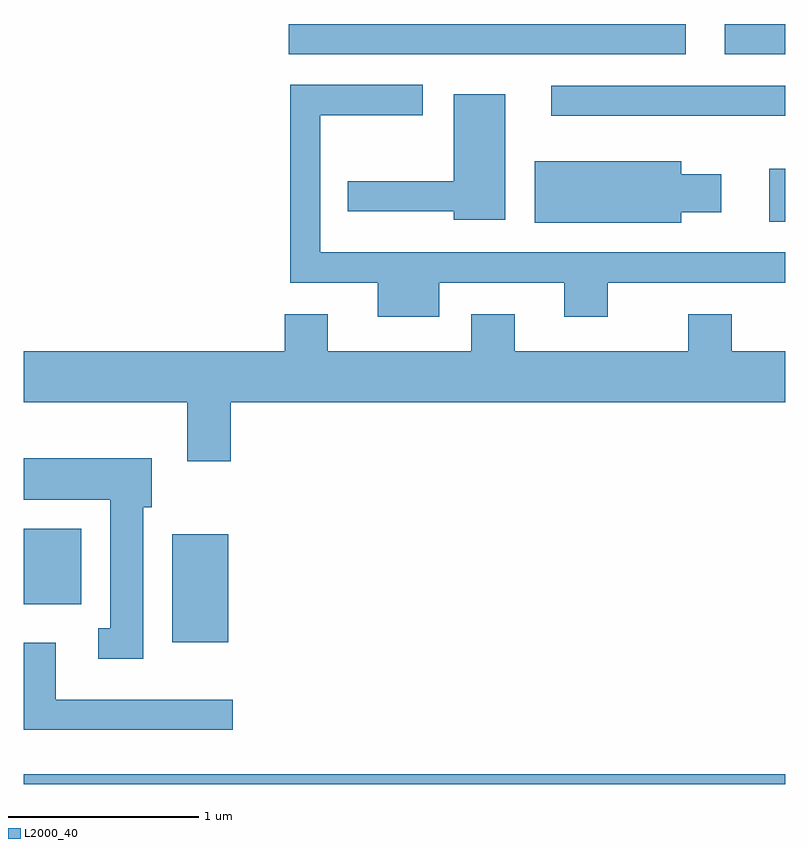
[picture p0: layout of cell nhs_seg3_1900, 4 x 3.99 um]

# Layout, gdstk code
import gdstk
lib = gdstk.Library(unit=1e-6, precision=1e-09)
def R(c, l, rs):  # rectangles x0, y0, x1, y1
    for r in rs: c.add(gdstk.rectangle(r[:2], r[2:], *l))
def P(c, l, *ps):  # polygons
    for p in ps: c.add(gdstk.Polygon(p, *l))
L2000_40 = (2000, 40)

nhs_seg3_1900 = lib.new_cell('nhs_seg3_1900')
R(nhs_seg3_1900, L2000_40, [(239.611,1243.892,243.611,1243.944), (240.391,1244.636,240.684,1245.204), (239.611,1244.836,239.914,1245.234), (243.526,1246.846,243.611,1247.124), (242.383,1247.401,243.611,1247.559), (241.003,1247.726,243.088,1247.884), (243.293,1247.726,243.611,1247.884)])
P(nhs_seg3_1900, L2000_40, [(241.794,1246.526),(242.451,1246.526),(242.451,1246.346),(242.679,1246.346),(242.679,1246.526),(243.611,1246.526),(243.611,1246.684),(241.169,1246.684),(241.169,1247.406),(241.708,1247.406),(241.708,1247.564),(241.011,1247.564),(241.011,1246.526),(241.471,1246.526),(241.471,1246.346),(241.794,1246.346)],
  [(242.139,1247.514),(241.871,1247.514),(241.871,1247.059),(241.313,1247.059),(241.313,1246.901),(241.871,1246.901),(241.871,1246.856),(242.139,1246.856)],
  [(243.064,1246.896),(243.274,1246.896),(243.274,1247.094),(243.064,1247.094),(243.064,1247.164),(242.296,1247.164),(242.296,1246.841),(243.064,1246.841)],
  [(240.699,1245.896),(243.611,1245.896),(243.611,1246.164),(243.329,1246.164),(243.329,1246.359),(243.101,1246.359),(243.101,1246.164),(242.189,1246.164),(242.189,1246.359),(241.961,1246.359),(241.961,1246.164),(241.209,1246.164),(241.209,1246.359),(240.981,1246.359),(240.981,1246.164),(239.611,1246.164),(239.611,1245.896),(240.471,1245.896),(240.471,1245.586),(240.699,1245.586)],
  [(240.239,1245.346),(240.284,1245.346),(240.284,1245.604),(239.611,1245.604),(239.611,1245.386),(240.066,1245.386),(240.066,1244.709),(240.003,1244.709),(240.003,1244.551),(240.239,1244.551)],
  [(240.708,1244.334),(239.779,1244.334),(239.779,1244.634),(239.611,1244.634),(239.611,1244.176),(240.708,1244.176)])

lib.write_gds('nhs_seg3_1900.gds')
